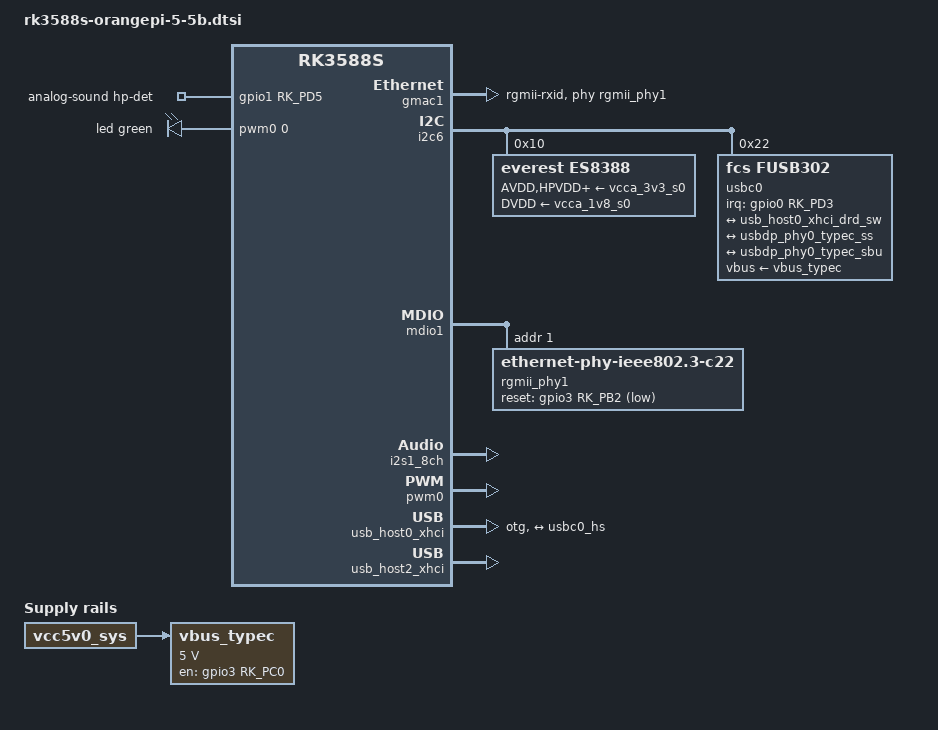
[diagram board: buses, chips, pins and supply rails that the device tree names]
// SPDX-License-Identifier: (GPL-2.0+ OR MIT)
/*
 * Device tree definitions shared by the Orange Pi 5 and Orange Pi 5B
 * but not the Orange Pi 5 Pro.
 */

#include <dt-bindings/usb/pd.h>
#include "rk3588s-orangepi-5.dtsi"

/ {
	aliases {
		ethernet0 = &gmac1;
	};

	analog-sound {
		compatible = "simple-audio-card";
		pinctrl-names = "default";
		pinctrl-0 = <&hp_detect>;
		simple-audio-card,name = "rockchip,es8388";
		simple-audio-card,bitclock-master = <&masterdai>;
		simple-audio-card,format = "i2s";
		simple-audio-card,frame-master = <&masterdai>;
		simple-audio-card,hp-det-gpios = <&gpio1 RK_PD5 GPIO_ACTIVE_HIGH>;
		simple-audio-card,mclk-fs = <256>;
		simple-audio-card,routing =
			"Headphones", "LOUT1",
			"Headphones", "ROUT1",
			"LINPUT1", "Microphone Jack",
			"RINPUT1", "Microphone Jack",
			"LINPUT2", "Onboard Microphone",
			"RINPUT2", "Onboard Microphone";
		simple-audio-card,widgets =
			"Microphone", "Microphone Jack",
			"Microphone", "Onboard Microphone",
			"Headphone", "Headphones";

		simple-audio-card,cpu {
			sound-dai = <&i2s1_8ch>;
		};

		masterdai: simple-audio-card,codec {
			sound-dai = <&es8388>;
			system-clock-frequency = <12288000>;
		};
	};

	pwm-leds {
		compatible = "pwm-leds";

		led {
			color = <LED_COLOR_ID_GREEN>;
			function = LED_FUNCTION_STATUS;
			linux,default-trigger = "heartbeat";
			max-brightness = <255>;
			pwms = <&pwm0 0 25000 0>;
		};
	};

	vbus_typec: regulator-vbus-typec {
		compatible = "regulator-fixed";
		enable-active-high;
		gpio = <&gpio3 RK_PC0 GPIO_ACTIVE_HIGH>;
		pinctrl-names = "default";
		pinctrl-0 = <&typec5v_pwren>;
		regulator-name = "vbus_typec";
		regulator-min-microvolt = <5000000>;
		regulator-max-microvolt = <5000000>;
		vin-supply = <&vcc5v0_sys>;
	};
};

&gmac1 {
	clock_in_out = "output";
	phy-handle = <&rgmii_phy1>;
	phy-mode = "rgmii-rxid";
	pinctrl-0 = <&gmac1_miim
			&gmac1_tx_bus2
			&gmac1_rx_bus2
			&gmac1_rgmii_clk
			&gmac1_rgmii_bus>;
	pinctrl-names = "default";
	tx_delay = <0x42>;
	status = "okay";
};

&i2c6 {
	es8388: audio-codec@10 {
		compatible = "everest,es8388", "everest,es8328";
		reg = <0x10>;
		clocks = <&cru I2S1_8CH_MCLKOUT>;
		AVDD-supply = <&vcca_3v3_s0>;
		DVDD-supply = <&vcca_1v8_s0>;
		HPVDD-supply = <&vcca_3v3_s0>;
		PVDD-supply = <&vcca_3v3_s0>;
		assigned-clocks = <&cru I2S1_8CH_MCLKOUT>;
		assigned-clock-rates = <12288000>;
		#sound-dai-cells = <0>;
	};

	usbc0: usb-typec@22 {
		compatible = "fcs,fusb302";
		reg = <0x22>;
		interrupt-parent = <&gpio0>;
		interrupts = <RK_PD3 IRQ_TYPE_LEVEL_LOW>;
		pinctrl-names = "default";
		pinctrl-0 = <&usbc0_int>;
		vbus-supply = <&vbus_typec>;
		status = "okay";

		usb_con: connector {
			compatible = "usb-c-connector";
			label = "USB-C";
			data-role = "dual";
			op-sink-microwatt = <1000000>;
			power-role = "dual";
			sink-pdos =
				<PDO_FIXED(5000, 1000, PDO_FIXED_USB_COMM)>;
			source-pdos =
				<PDO_FIXED(5000, 3000, PDO_FIXED_USB_COMM)>;
			try-power-role = "source";

			ports {
				#address-cells = <1>;
				#size-cells = <0>;

				port@0 {
					reg = <0>;
					usbc0_hs: endpoint {
						remote-endpoint = <&usb_host0_xhci_drd_sw>;
					};
				};

				port@1 {
					reg = <1>;
					usbc0_ss: endpoint {
						remote-endpoint = <&usbdp_phy0_typec_ss>;
					};
				};

				port@2 {
					reg = <2>;
					usbc0_sbu: endpoint {
						remote-endpoint = <&usbdp_phy0_typec_sbu>;
					};
				};
			};
		};
	};
};

&mdio1 {
	rgmii_phy1: ethernet-phy@1 {
		compatible = "ethernet-phy-ieee802.3-c22";
		reg = <0x1>;
		reset-assert-us = <20000>;
		reset-deassert-us = <100000>;
		reset-gpios = <&gpio3 RK_PB2 GPIO_ACTIVE_LOW>;
	};
};

&pinctrl {
	usb-typec {
		usbc0_int: usbc0-int {
			rockchip,pins = <0 RK_PD3 RK_FUNC_GPIO &pcfg_pull_up>;
		};

		typec5v_pwren: typec5v-pwren {
			rockchip,pins = <3 RK_PC0 RK_FUNC_GPIO &pcfg_pull_none>;
		};
	};
};

&i2s1_8ch {
	rockchip,i2s-tx-route = <3 2 1 0>;
	rockchip,i2s-rx-route = <1 3 2 0>;
	pinctrl-names = "default";
	pinctrl-0 = <&i2s1m0_sclk
			   &i2s1m0_mclk
			   &i2s1m0_lrck
			   &i2s1m0_sdi1
			   &i2s1m0_sdo3>;
	status = "okay";
};

&pwm0 {
	pinctrl-0 = <&pwm0m2_pins>;
	pinctrl-names = "default";
	status = "okay";
};

&rk806 {
	regulators {
		vcc_1v8_s0: pldo-reg1 {
			regulator-name = "vcc_1v8_s0";
			regulator-always-on;
			regulator-boot-on;
			regulator-min-microvolt = <1800000>;
			regulator-max-microvolt = <1800000>;

			regulator-state-mem {
				regulator-off-in-suspend;
			};
		};

		vcca_1v8_s0: pldo-reg2 {
			regulator-name = "vcca_1v8_s0";
			regulator-always-on;
			regulator-boot-on;
			regulator-min-microvolt = <1800000>;
			regulator-max-microvolt = <1800000>;

			regulator-state-mem {
				regulator-off-in-suspend;
				regulator-suspend-microvolt = <1800000>;
			};
		};
	};
};


&usb_host0_xhci {
	dr_mode = "otg";
	usb-role-switch;

	port {
		usb_host0_xhci_drd_sw: endpoint {
			remote-endpoint = <&usbc0_hs>;
		};
	};
};

&usb_host2_xhci {
	status = "okay";
};

&usbdp_phy0 {
	mode-switch;
	orientation-switch;
	sbu1-dc-gpios = <&gpio4 RK_PA5 GPIO_ACTIVE_HIGH>;
	sbu2-dc-gpios = <&gpio4 RK_PA7 GPIO_ACTIVE_HIGH>;

	port {
		#address-cells = <1>;
		#size-cells = <0>;

		usbdp_phy0_typec_ss: endpoint@0 {
			reg = <0>;
			remote-endpoint = <&usbc0_ss>;
		};

		usbdp_phy0_typec_sbu: endpoint@1 {
			reg = <1>;
			remote-endpoint = <&usbc0_sbu>;
		};
	};
};
